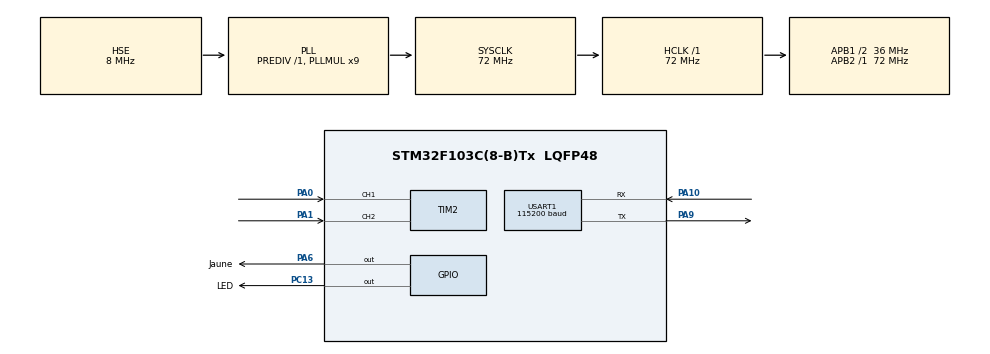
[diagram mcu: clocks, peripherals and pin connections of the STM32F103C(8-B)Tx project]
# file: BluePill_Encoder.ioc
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Mcu.Family=STM32F1
Mcu.Name=STM32F103C(8-B)Tx
Mcu.Package=LQFP48
NVIC.PriorityGroup=NVIC_PRIORITYGROUP_4
NVIC.TIM2_IRQn=true\:0\:0\:false\:false\:true\:true\:true
PA0-WKUP.Signal=S_TIM2_CH1_ETR
PA1.Signal=S_TIM2_CH2
PA10.Mode=Asynchronous
PA10.Signal=USART1_RX
PA13.Mode=Trace_Asynchronous_SW
PA13.Signal=SYS_JTMS-SWDIO
PA14.Mode=Trace_Asynchronous_SW
PA14.Signal=SYS_JTCK-SWCLK
PA6.GPIO_Label=Jaune
PA6.GPIO_ModeDefaultOutputPP=GPIO_MODE_OUTPUT_PP
PA6.Signal=GPIO_Output
PA9.Mode=Asynchronous
PA9.Signal=USART1_TX
PB3.Mode=Trace_Asynchronous_SW
PB3.Signal=SYS_JTDO-TRACESWO
PC13-TAMPER-RTC.GPIO_Label=LED
PC13-TAMPER-RTC.Signal=GPIO_Output
PC14-OSC32_IN.Mode=LSE-External-Oscillator
PC14-OSC32_IN.Signal=RCC_OSC32_IN
PC15-OSC32_OUT.Mode=LSE-External-Oscillator
PC15-OSC32_OUT.Signal=RCC_OSC32_OUT
PD0-OSC_IN.Mode=HSE-External-Oscillator
PD0-OSC_IN.Signal=RCC_OSC_IN
PD1-OSC_OUT.Mode=HSE-External-Oscillator
PD1-OSC_OUT.Signal=RCC_OSC_OUT
ProjectManager.HeapSize=0x200
ProjectManager.StackSize=0x400
ProjectManager.TargetToolchain=STM32CubeIDE
RCC.AHBFreq_Value=72000000
RCC.APB1CLKDivider=RCC_HCLK_DIV2
RCC.APB1Freq_Value=36000000
RCC.APB1TimFreq_Value=72000000
RCC.APB2Freq_Value=72000000
RCC.APB2TimFreq_Value=72000000
RCC.HCLKFreq_Value=72000000
RCC.PLLMUL=RCC_PLL_MUL9
RCC.PLLSourceVirtual=RCC_PLLSOURCE_HSE
RCC.RTCClockSelection=RCC_RTCCLKSOURCE_LSE
RCC.SYSCLKFreq_VALUE=72000000
RCC.SYSCLKSource=RCC_SYSCLKSOURCE_PLLCLK
RCC.USBFreq_Value=72000000
SH.S_TIM2_CH1_ETR.0=TIM2_CH1,Encoder_Interface
SH.S_TIM2_CH2.0=TIM2_CH2,Encoder_Interface
TIM2.AutoReloadPreload=TIM_AUTORELOAD_PRELOAD_ENABLE
TIM2.EncoderMode=TIM_ENCODERMODE_TI12
TIM2.IC1Filter=5
TIM2.IC2Filter=5
TIM2.TIM_MasterOutputTrigger=TIM_TRGO_ENABLE
USART1.BaudRate=115200
USART1.VirtualMode=VM_ASYNC
VP_RTC_No_RTC_Output.Mode=RTC_OUT_NO
VP_RTC_VS_RTC_Activate.Mode=RTC_Enabled
board=custom

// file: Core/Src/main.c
/* USER CODE BEGIN Header */
/**
  ******************************************************************************
  * @file           : main.c
  * @brief          : Main program body
  ******************************************************************************
  * @attention
  *
  * Copyright (c) 2021 STMicroelectronics.
  * All rights reserved.
  *
  * This software is licensed under terms that can be found in the LICENSE file
  * in the root directory of this software component.
  * If no LICENSE file comes with this software, it is provided AS-IS.
  *
  ******************************************************************************
  */
/* USER CODE END Header */
#include "main.h"

/* USER CODE BEGIN Includes */
#include <stdio.h>
/* USER CODE END Includes */

RTC_HandleTypeDef hrtc;

TIM_HandleTypeDef htim2;

UART_HandleTypeDef huart1;

void SystemClock_Config(void);
static void MX_GPIO_Init(void);
static void MX_TIM2_Init(void);
static void MX_USART1_UART_Init(void);
static void MX_RTC_Init(void);

int main(void)
{
  /* USER CODE BEGIN 1 */
	uint8_t MSG[100] = {'\0'};
  /* USER CODE END 1 */

  /* MCU Configuration--------------------------------------------------------*/

  /* Reset of all peripherals, Initializes the Flash interface and the Systick. */
  HAL_Init();

  /* Configure the system clock */
  SystemClock_Config();

  /* Initialize all configured peripherals */
  MX_GPIO_Init();
  MX_TIM2_Init();
  MX_USART1_UART_Init();
  MX_RTC_Init();
  /* USER CODE BEGIN 2 */
  //HAL_TIM_Encoder_Start(&htim2, TIM_CHANNEL_ALL);
  HAL_TIM_Base_Start_IT(&htim2);
  encodeur=0;
  encbuf=0;
  /* USER CODE END 2 */

  /* Infinite loop */
  while (1)
  {

    /* USER CODE BEGIN 3 */
	  encbuf= encodeur*65535 + TIM2->CNT;
	  HAL_GPIO_TogglePin(Jaune_GPIO_Port, Jaune_Pin);
	  //sprintf(MSG, "ver = 14 pos= %ld dir= %d CNT= %d Old= %d overflow= %ld\n\r%c", encbuf, direction, (TIM2->CNT), oldpos, encodeur, '\0');
	  sprintf(MSG, "ver = 15 pos= %ld overflow= %ld\n\r", encbuf, encodeur);
	  HAL_UART_Transmit(&huart1, MSG, sizeof(MSG), 200);
	  oldpos=TIM2->CNT;
	  HAL_Delay(100);
  }
  /* USER CODE END 3 */
}

void SystemClock_Config(void)
{
  RCC_OscInitTypeDef RCC_OscInitStruct = {0};
  RCC_ClkInitTypeDef RCC_ClkInitStruct = {0};
  RCC_PeriphCLKInitTypeDef PeriphClkInit = {0};

  /** Initializes the RCC Oscillators according to the specified parameters
  * in the RCC_OscInitTypeDef structure.
  */
  RCC_OscInitStruct.OscillatorType = RCC_OSCILLATORTYPE_HSE|RCC_OSCILLATORTYPE_LSE;
  RCC_OscInitStruct.HSEState = RCC_HSE_ON;
  RCC_OscInitStruct.HSEPredivValue = RCC_HSE_PREDIV_DIV1;
  RCC_OscInitStruct.LSEState = RCC_LSE_ON;
  RCC_OscInitStruct.HSIState = RCC_HSI_ON;
  RCC_OscInitStruct.PLL.PLLState = RCC_PLL_ON;
  RCC_OscInitStruct.PLL.PLLSource = RCC_PLLSOURCE_HSE;
  RCC_OscInitStruct.PLL.PLLMUL = RCC_PLL_MUL9;
  if (HAL_RCC_OscConfig(&RCC_OscInitStruct) != HAL_OK)
  {
    Error_Handler();
  }
  /** Initializes the CPU, AHB and APB buses clocks
  */
  RCC_ClkInitStruct.ClockType = RCC_CLOCKTYPE_HCLK|RCC_CLOCKTYPE_SYSCLK
                              |RCC_CLOCKTYPE_PCLK1|RCC_CLOCKTYPE_PCLK2;
  RCC_ClkInitStruct.SYSCLKSource = RCC_SYSCLKSOURCE_PLLCLK;
  RCC_ClkInitStruct.AHBCLKDivider = RCC_SYSCLK_DIV1;
  RCC_ClkInitStruct.APB1CLKDivider = RCC_HCLK_DIV2;
  RCC_ClkInitStruct.APB2CLKDivider = RCC_HCLK_DIV1;

  if (HAL_RCC_ClockConfig(&RCC_ClkInitStruct, FLASH_LATENCY_2) != HAL_OK)
  {
    Error_Handler();
  }
  PeriphClkInit.PeriphClockSelection = RCC_PERIPHCLK_RTC;
  PeriphClkInit.RTCClockSelection = RCC_RTCCLKSOURCE_LSE;
  if (HAL_RCCEx_PeriphCLKConfig(&PeriphClkInit) != HAL_OK)
  {
    Error_Handler();
  }
}

static void MX_RTC_Init(void)
{

  RTC_TimeTypeDef sTime = {0};
  RTC_DateTypeDef DateToUpdate = {0};

  /** Initialize RTC Only
  */
  hrtc.Instance = RTC;
  hrtc.Init.AsynchPrediv = RTC_AUTO_1_SECOND;
  hrtc.Init.OutPut = RTC_OUTPUTSOURCE_NONE;
  if (HAL_RTC_Init(&hrtc) != HAL_OK)
  {
    Error_Handler();
  }

  /** Initialize RTC and set the Time and Date
  */
  sTime.Hours = 0x0;
  sTime.Minutes = 0x0;
  sTime.Seconds = 0x0;

  if (HAL_RTC_SetTime(&hrtc, &sTime, RTC_FORMAT_BCD) != HAL_OK)
  {
    Error_Handler();
  }
  DateToUpdate.WeekDay = RTC_WEEKDAY_MONDAY;
  DateToUpdate.Month = RTC_MONTH_JANUARY;
  DateToUpdate.Date = 0x1;
  DateToUpdate.Year = 0x0;

  if (HAL_RTC_SetDate(&hrtc, &DateToUpdate, RTC_FORMAT_BCD) != HAL_OK)
  {
    Error_Handler();
  }

}

static void MX_TIM2_Init(void)
{

  TIM_Encoder_InitTypeDef sConfig = {0};
  TIM_MasterConfigTypeDef sMasterConfig = {0};

  htim2.Instance = TIM2;
  htim2.Init.Prescaler = 0;
  htim2.Init.CounterMode = TIM_COUNTERMODE_UP;
  htim2.Init.Period = 65535;
  htim2.Init.ClockDivision = TIM_CLOCKDIVISION_DIV1;
  htim2.Init.AutoReloadPreload = TIM_AUTORELOAD_PRELOAD_ENABLE;
  sConfig.EncoderMode = TIM_ENCODERMODE_TI12;
  sConfig.IC1Polarity = TIM_ICPOLARITY_RISING;
  sConfig.IC1Selection = TIM_ICSELECTION_DIRECTTI;
  sConfig.IC1Prescaler = TIM_ICPSC_DIV1;
  sConfig.IC1Filter = 5;
  sConfig.IC2Polarity = TIM_ICPOLARITY_RISING;
  sConfig.IC2Selection = TIM_ICSELECTION_DIRECTTI;
  sConfig.IC2Prescaler = TIM_ICPSC_DIV1;
  sConfig.IC2Filter = 5;
  if (HAL_TIM_Encoder_Init(&htim2, &sConfig) != HAL_OK)
  {
    Error_Handler();
  }
  sMasterConfig.MasterOutputTrigger = TIM_TRGO_ENABLE;
  sMasterConfig.MasterSlaveMode = TIM_MASTERSLAVEMODE_DISABLE;
  if (HAL_TIMEx_MasterConfigSynchronization(&htim2, &sMasterConfig) != HAL_OK)
  {
    Error_Handler();
  }

}

static void MX_USART1_UART_Init(void)
{

  huart1.Instance = USART1;
  huart1.Init.BaudRate = 115200;
  huart1.Init.WordLength = UART_WORDLENGTH_8B;
  huart1.Init.StopBits = UART_STOPBITS_1;
  huart1.Init.Parity = UART_PARITY_NONE;
  huart1.Init.Mode = UART_MODE_TX_RX;
  huart1.Init.HwFlowCtl = UART_HWCONTROL_NONE;
  huart1.Init.OverSampling = UART_OVERSAMPLING_16;
  if (HAL_UART_Init(&huart1) != HAL_OK)
  {
    Error_Handler();
  }

}

static void MX_GPIO_Init(void)
{
  GPIO_InitTypeDef GPIO_InitStruct = {0};

  /* GPIO Ports Clock Enable */
  __HAL_RCC_GPIOC_CLK_ENABLE();
  __HAL_RCC_GPIOD_CLK_ENABLE();
  __HAL_RCC_GPIOA_CLK_ENABLE();
  __HAL_RCC_GPIOB_CLK_ENABLE();

  /*Configure GPIO pin Output Level */
  HAL_GPIO_WritePin(LED_GPIO_Port, LED_Pin, GPIO_PIN_RESET);

  /*Configure GPIO pin Output Level */
  HAL_GPIO_WritePin(Jaune_GPIO_Port, Jaune_Pin, GPIO_PIN_RESET);

  /*Configure GPIO pin : LED_Pin */
  GPIO_InitStruct.Pin = LED_Pin;
  GPIO_InitStruct.Mode = GPIO_MODE_OUTPUT_PP;
  GPIO_InitStruct.Pull = GPIO_NOPULL;
  GPIO_InitStruct.Speed = GPIO_SPEED_FREQ_LOW;
  HAL_GPIO_Init(LED_GPIO_Port, &GPIO_InitStruct);

  /*Configure GPIO pin : Jaune_Pin */
  GPIO_InitStruct.Pin = Jaune_Pin;
  GPIO_InitStruct.Mode = GPIO_MODE_OUTPUT_PP;
  GPIO_InitStruct.Pull = GPIO_NOPULL;
  GPIO_InitStruct.Speed = GPIO_SPEED_FREQ_LOW;
  HAL_GPIO_Init(Jaune_GPIO_Port, &GPIO_InitStruct);

}

/* USER CODE BEGIN 4 */
void HAL_TIM_PeriodElapsedCallback(TIM_HandleTypeDef* htim)
{
	// There is no dir bit in the timer registers
	// So the way to knwo if overflow came from top or bottom
	// is to rel
	direction = (oldpos > 10000) ? 1 : -1;
	HAL_GPIO_TogglePin(LED_GPIO_Port, LED_Pin);
    encodeur+=direction;
}
/* USER CODE END 4 */

void Error_Handler(void)
{
  __disable_irq();
  while (1)
  {
  }
}
